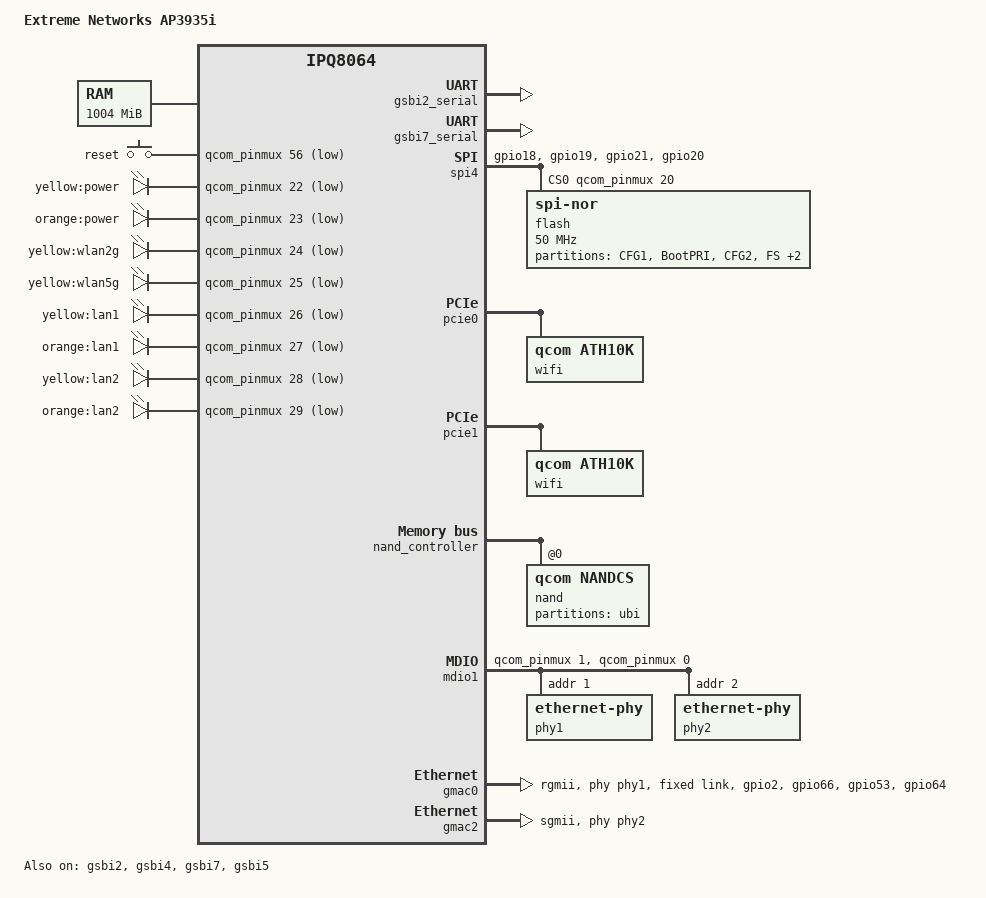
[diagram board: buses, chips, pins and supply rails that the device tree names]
// SPDX-License-Identifier: GPL-2.0-or-later OR MIT

#include "qcom-ipq8064-v2.0.dtsi"

#include <dt-bindings/input/input.h>
#include <dt-bindings/soc/qcom,tcsr.h>

/ {
	model = "Extreme Networks AP3935i";
	compatible = "extreme,ap3935i", "qcom,ipq8064";

	memory@0 {
		reg = <0x41400000 0x3ec00000>;
		device_type = "memory";
	};

	cpus {
		idle-states {
			CPU_SPC: spc {
				status = "disabled";
			};
		};
	};

	aliases {
		serial0 = &gsbi7_serial;
		serial1 = &gsbi2_serial;
		mdio-gpio0 = &mdio0;
		ethernet0 = &gmac0;
		ethernet1 = &gmac2;

		led-boot = &led_power_yellow;
		led-failsafe = &led_power_orange;
		led-running = &led_power_yellow;
		led-upgrade = &led_power_yellow;
	};

	chosen {
		stdout-path = "serial0:115200n8";
		bootargs-override = "loglevel=8 earlycon=msm_serial_dm,0x16640000 console=ttyMSM0,115200n8 ubi.block=0,0 root=/dev/ubiblock0_0 rootfstype=squashfs";
	};

	keys {
		compatible = "gpio-keys";
		pinctrl-0 = <&button_pins>;
		pinctrl-names = "default";

		reset {
			label = "reset";
			gpios = <&qcom_pinmux 56 GPIO_ACTIVE_LOW>;
			linux,code = <KEY_RESTART>;
			debounce-interval = <60>;
			wakeup-source;
		};
	};

	leds {
		compatible = "gpio-leds";
		pinctrl-0 = <&led_pins>;
		pinctrl-names = "default";

		led_power_yellow: power_yellow {
			label = "yellow:power";
			gpios = <&qcom_pinmux 22 GPIO_ACTIVE_LOW>;
		};
		
		led_power_orange: power_orange { 
			label = "orange:power";
			gpios = <&qcom_pinmux 23 GPIO_ACTIVE_LOW>;
		};

		led_wlan2g_yellow {
			label = "yellow:wlan2g";
			gpios = <&qcom_pinmux 24 GPIO_ACTIVE_LOW>;
			linux,default-trigger = "phy1tpt";
		};
		
		led_wlan5g_yellow {
			label = "yellow:wlan5g";
			gpios = <&qcom_pinmux 25 GPIO_ACTIVE_LOW>;
			linux,default-trigger = "phy0tpt";
		};
		
		led_lan1_yellow {
			label = "yellow:lan1";
			gpios = <&qcom_pinmux 26 GPIO_ACTIVE_LOW>;
		};
		
		led_lan1_orange {
			label = "orange:lan1";
			gpios = <&qcom_pinmux 27 GPIO_ACTIVE_LOW>;
		};
		
		led_lan2_yellow {
			label = "yellow:lan2";
			gpios = <&qcom_pinmux 28 GPIO_ACTIVE_LOW>;
		};
		
		led_lan2_orange {
			label = "orange:lan2";
			gpios = <&qcom_pinmux 29 GPIO_ACTIVE_LOW>;
		};
	};
};


&qcom_pinmux {
	spi_pins: spi_pins {
		mux {
			pins = "gpio18", "gpio19";
			function = "gsbi5";
			drive-strength = <10>;
			bias-pull-down;
		};

		clk {
			pins = "gpio21";
			function = "gsbi5";
			drive-strength = <12>;
			bias-pull-down;
		};

		cs {
			pins = "gpio20";
			function = "gpio";
			drive-strength = <10>;
			bias-pull-up;
		};
	};

	led_pins: led_pins {
		mux {
			pins = "gpio22", "gpio23", "gpio24", "gpio25", "gpio26", "gpio27", "gpio28", "gpio29";
			function = "gpio";
			drive-strength = <2>;
			bias-pull-up;
		};
	};

	button_pins: button_pins {
		mux {
			pins = "gpio56";
			function = "gpio";
			drive-strength = <2>;
			bias-pull-up;
		};
	};
	
	rgmii0_pins: rgmii0_pins {
		mux {
			pins = "gpio2", "gpio66";
			drive-strength = <8>;
			bias-disable;
		};
		
		tx {
			pins = "gpio53", "gpio64";
			drive-strength = <2>;
			bias-pull-down;		
			input-enable;
		};
	};
};

&gsbi2 {
	qcom,mode = <GSBI_PROT_I2C_UART>;
	status = "okay";

	gsbi2_serial: serial@12490000 {
		status = "okay";
	};
};

&gsbi4 {
	qcom,mode = <GSBI_PROT_I2C_UART>;
	status = "okay";

	serial@16340000 {
		status = "disabled";
	};
};

&gsbi7 {
	qcom,mode = <GSBI_PROT_I2C_UART>;
	status = "okay";

	gsbi7_serial: serial@16640000 {
		status = "okay";
	};
};

&gsbi5 {
	qcom,mode = <GSBI_PROT_SPI>;
	status = "okay";

	spi4: spi@1a280000 {
		status = "okay";
		spi-max-frequency = <50000000>;

		pinctrl-0 = <&spi_pins>;
		pinctrl-names = "default";

		cs-gpios = <&qcom_pinmux 20 GPIO_ACTIVE_HIGH>;

		flash@0 {
			compatible = "jedec,spi-nor";
			#address-cells = <1>;
			#size-cells = <1>;
			spi-max-frequency = <50000000>;
			reg = <0>;

			partitions {
				compatible = "fixed-partitions";
				
				cfg1@02a0000 {
					label = "CFG1";
					reg = <0x02a0000 0x0010000>;
				};
				cfg1@02b0000 {
					label = "BootPRI";
					reg = <0x02b0000 0x0080000>;
				};
				cfg2@0330000 {
					label = "CFG2";
					reg = <0x0330000 0x0010000>;
				};
				fs@0340000 {
					label = "FS";
					reg = <0x0340000 0x0080000>;
				};
				priimg@03c0000 {
					label = "PriImg";
					reg = <0x03c0000 0x0e10000>;
				};
				secimg@11d0000 {
					label = "SecImg";
					reg = <0x11d0000 0x0e10000>;
				};
			};
		};
	};
};

&pcie0 {
	status = "okay";

	/delete-property/ pinctrl-0;
	/delete-property/ pinctrl-names;
	/delete-property/ perst-gpios;

	bridge@0,0 {
		reg = <0x00000000 0 0 0 0>;
		#address-cells = <3>;
		#size-cells = <2>;
		ranges;

		wifi@1,0 {
			compatible = "qcom,ath10k";
			status = "okay";
			reg = <0x00010000 0 0 0 0>;
		};
	};
};

&pcie1 {
	status = "okay";

	/delete-property/ pinctrl-0;
	/delete-property/ pinctrl-names;
	/delete-property/ perst-gpios;

	bridge@0,0 {
		reg = <0x00000000 0 0 0 0>;
		#address-cells = <3>;
		#size-cells = <2>;
		ranges;

		wifi@1,0 {
			compatible = "qcom,ath10k";
			status = "okay";
			reg = <0x00010000 0 0 0 0>;
		};
	};
};

&nand_controller {
	status = "okay";

	pinctrl-0 = <&nand_pins>;
	pinctrl-names = "default";

	nand@0 {
		compatible = "qcom,nandcs";

		reg = <0>;

		nand-ecc-strength = <8>;
		nand-bus-width = <8>;
		nand-ecc-step-size = <512>;

		partitions {
			compatible = "fixed-partitions";
			#address-cells = <1>;
			#size-cells = <1>;
			
			ubi@0 {
				label = "ubi";
				reg = <0x0000000 0x20000000>;
			};
		};
	};
};

&soc {
	mdio1: mdio {
		compatible = "virtual,mdio-gpio";
		#address-cells = <1>;
		#size-cells = <0>;

		status = "okay";

		pinctrl-0 = <&mdio0_pins>;
		pinctrl-names = "default";

		gpios = <&qcom_pinmux 1 GPIO_ACTIVE_HIGH &qcom_pinmux 0 GPIO_ACTIVE_HIGH>;

		phy1: ethernet-phy@1 {
			reg = <1>;
		};

		phy2: ethernet-phy@2 {
			reg = <2>;
		};
	};
};

&gmac0 {
	status = "okay";

	qcom,id = <0>;
	mdiobus = <&mdio1>;

	pinctrl-0 = <&rgmii0_pins>;
	pinctrl-names = "default";

	phy-mode = "rgmii";
	phy-handle = <&phy1>;
	
	fixed-link {
		speed = <1000>;
		full-duplex;
	};
};

&gmac2 {
	status = "okay";

	qcom,id = <2>;
	mdiobus = <&mdio1>;

	phy-mode = "sgmii";
	phy-handle = <&phy2>;
};

&adm_dma {
	status = "okay";
};
